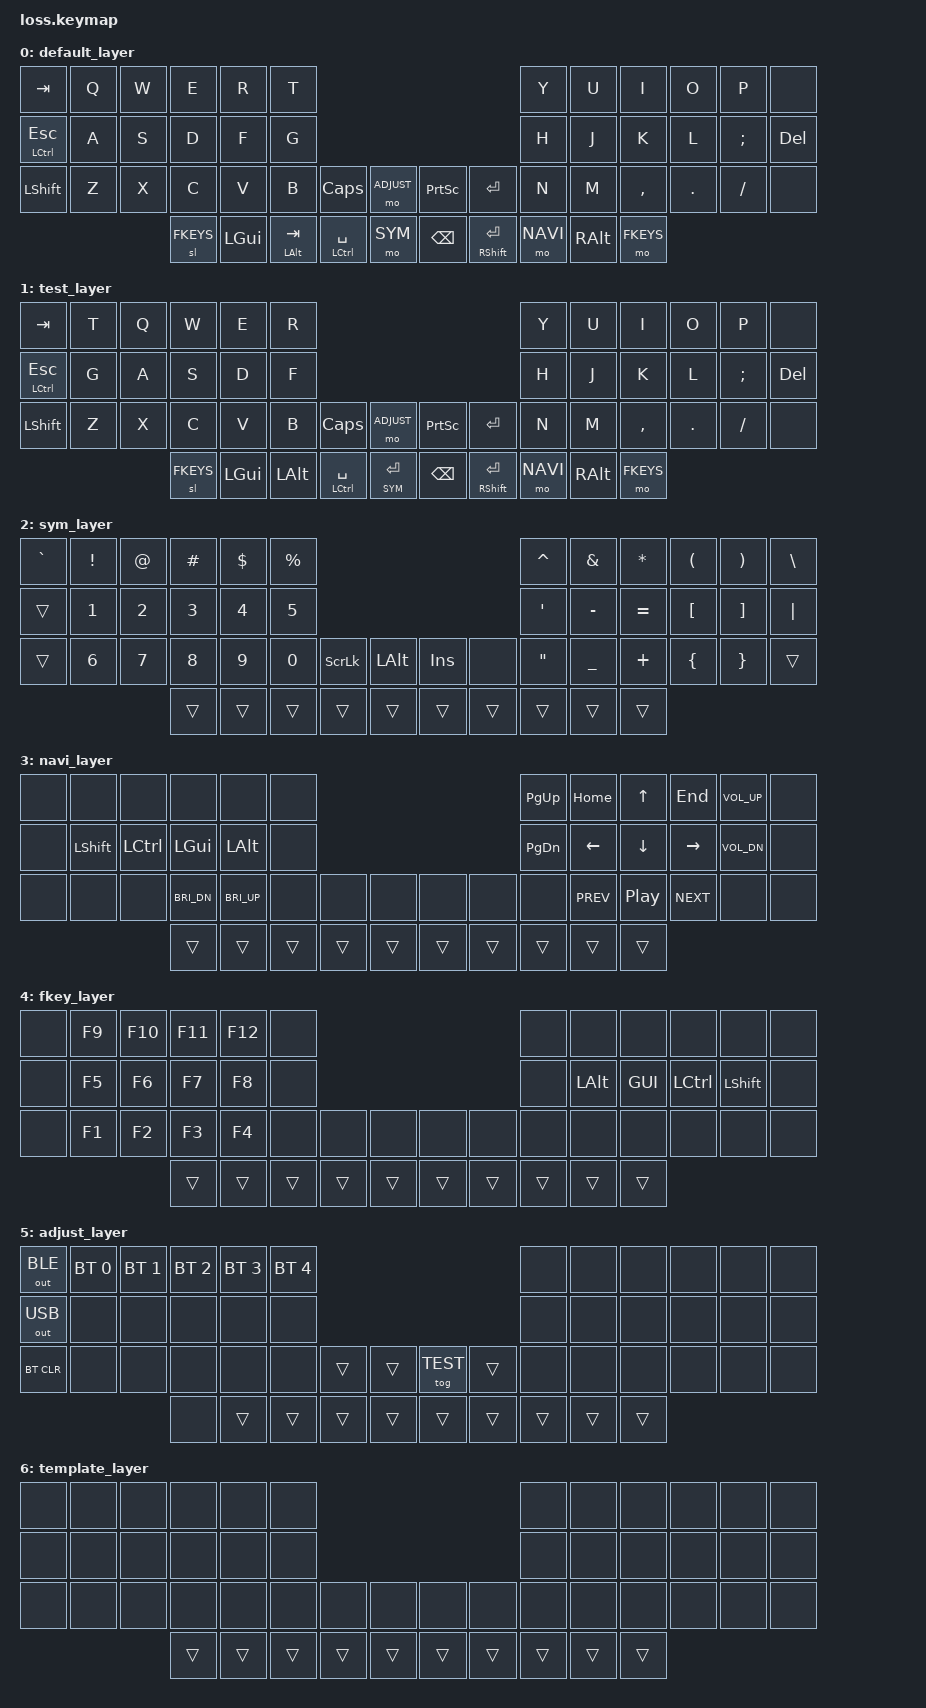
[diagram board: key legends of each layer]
#include <behaviors.dtsi>
#include <dt-bindings/zmk/keys.h>
#include <dt-bindings/zmk/bt.h>
#include <dt-bindings/zmk/outputs.h>


#define DEFAULT 0
#define TEST    1
#define SYM     2
#define NAVI    3
#define FKEYS   4
#define ADJUST  5

/ {
  behaviors {
    hm: homerow_mods {
      compatible = "zmk,behavior-hold-tap";
      label = "HOMEROW_MODS";
      #binding-cells = <2>;
      tapping-term-ms = <150>;    // <---[[moderate duration]]
      quick-tap-ms = <150>;
      require-prior-idle-ms = <125>;
      flavor = "tap-preferred";
      bindings = <&kp>, <&kp>;
    };
    hms: homerow_mods_slow {
      compatible = "zmk,behavior-hold-tap";
      label = "HOMEROW_MODS_SLOW";
      #binding-cells = <2>;
      tapping-term-ms = <200>;    // <---[[moderate duration]]
      quick-tap-ms = <200>;
      require-prior-idle-ms = <125>;
      flavor = "tap-preferred";
      bindings = <&kp>, <&kp>;
    };
    bhm: balanced_homerow_mods {
      compatible = "zmk,behavior-hold-tap";
      label = "HOMEROW_MODS";
      #binding-cells = <2>;
      tapping-term-ms = <200>;    // <---[[moderate duration]]
      quick-tap-ms = <200>;
      flavor = "balanced";
      bindings = <&kp>, <&kp>;
    };
    lh: left_hand_positional_hold_tap {
      compatible = "zmk,behavior-hold-tap";
      label = "LEFT_POSITIONAL_HOLD_TAP";
      #binding-cells = <2>;
      flavor = "tap-unless-interrupted";
      tapping-term-ms = <100>;                        // <---[[produces hold if held longer than tapping-term-ms]]
      quick-tap-ms = <200>;
      bindings = <&kp>, <&kp>;
      hold-trigger-key-positions = <8 9 10 11 12 13 14 15>;    // <---[[right-hand keys]]
    };
    rh: right_hand_positional_hold_tap {
      compatible = "zmk,behavior-hold-tap";
      label = "RIGHT_POSITIONAL_HOLD_TAP";
      #binding-cells = <2>;
      flavor = "tap-unless-interrupted";
      tapping-term-ms = <100>;                        // <---[[produces hold if held longer than tapping-term-ms]]
      quick-tap-ms = <200>;
      bindings = <&kp>, <&kp>;
      hold-trigger-key-positions = <0 1 2 3 4 5 6 7>;    // <---[[left-hand keys]]
    };
  };

  keymap {
    compatible = "zmk,keymap";

    default_layer {
//  ┌╌╌╌╌╌╌┬╌╌╌╌╌╌┬╌╌╌╌╌╌┬╌╌╌╌╌╌┬╌╌╌╌╌╌┬╌╌╌╌╌╌┐                              ┌╌╌╌╌╌╌┬╌╌╌╌╌╌┬╌╌╌╌╌╌┬╌╌╌╌╌╌┬╌╌╌╌╌╌┬╌╌╌╌╌╌┐
//  ┆ TAB  ┆  Q   ┆  W   ┆  E   ┆  R   ┆  T   ┆                              ┆  Y   ┆  U   ┆  I   ┆  O   ┆  P   ┆      ┆
//  ┆      ┆      ┆      ┆      ┆      ┆      ┆                              ┆      ┆      ┆      ┆      ┆      ┆      ┆
//  ├╌╌╌╌╌╌╔══════╦══════╦══════╦══════╗╌╌╌╌╌╌┤                              ├╌╌╌╌╌╌╔══════╦══════╦══════╦══════╗╌╌╌╌╌╌┤
//  ┆ CTRL ║  A   ║  S   ║  D   ║  F   ║  G   ┆                              ┆  H   ║  J   ║  K   ║  L   ║  ;   ║ DEL  ┆
//  ┆ ESC  ║      ║      ║      ║      ║      ┆                              ┆      ║      ║      ║      ║  :   ║      ┆
//  ├╌╌╌╌╌╌╚══════╩══════╩══════╩══════╝╌╌╌╌╌╌┼╌╌╌╌╌╌┬╌╌╌╌╌╌┐  ┌╌╌╌╌╌╌┬╌╌╌╌╌╌┼╌╌╌╌╌╌╚══════╩══════╩══════╩══════╝╌╌╌╌╌╌┤
//  ┆ SHIFT┆  Z   ┆  X   ┆  C   ┆  V   ┆  B   ┆CAPS  ┆ADJUST┆  ┆PRINT ┆  RET ┆  N   ┆  M   ┆  <   ┆  >   ┆  ?   ┆      ┆
//  ┆      ┆      ┆      ┆      ┆      ┆      ┆  LOCK┆      ┆  ┆SCREEN┆      ┆      ┆      ┆  ,   ┆  .   ┆  /   ┆      ┆
//  └╌╌╌╌╌╌┴╌╌╌╌╌╌┴╌╌╌╌╌╌┼╌╌╌╌╌╌┼╌╌╌╌╌╌┼╌╌╌╌╌╌┼╌╌╌╌╌╌┼╌╌╌╌╌╌┆  ┆╌╌╌╌╌╌┼╌╌╌╌╌╌┼╌╌╌╌╌╌┼╌╌╌╌╌╌┼╌╌╌╌╌╌┼╌╌╌╌╌╌┴╌╌╌╌╌╌┴╌╌╌╌╌╌┘
//                       ┆ FKEYS┆  GUI ┆ LALT ┆ CTRL ┆  SYM ┆  ┆ BSPC ┆ SHIFT┆ NAVI ┆ RALT ┆ FKEYS┆
//                       ┆      ┆      ┆ TAB  ┆ SPACE┆      ┆  ┆      ┆  RET ┆      ┆      ┆      ┆
//                       └╌╌╌╌╌╌┴╌╌╌╌╌╌┴╌╌╌╌╌╌┴╌╌╌╌╌╌┴╌╌╌╌╌╌┘  └╌╌╌╌╌╌┴╌╌╌╌╌╌┴╌╌╌╌╌╌┴╌╌╌╌╌╌┴╌╌╌╌╌╌┘
      bindings = <
    &kp TAB        &kp Q     &kp W       &kp E        &kp R         &kp T                                                                              &kp Y       &kp U        &kp I           &kp O      &kp P         &none
    &mt LCTRL ESC  &kp A     &kp S       &kp D        &kp F         &kp G                                                                              &kp H       &kp J        &kp K           &kp L      &kp SEMI      &kp DEL
    &kp LSHFT      &kp Z     &kp X       &kp C        &kp V         &kp B            &kp CLCK         &mo ADJUST       &kp PSCRN        &kp RET        &kp N       &kp M        &kp COMMA       &kp DOT    &kp FSLH      &none
                                         &sl FKEYS    &kp LGUI      &mt LALT TAB     &hms LCTRL SPACE &mo SYM          &kp BSPC         &mt RSHIFT RET &mo NAVI    &kp RALT     &mo FKEYS
      >;
    };

    test_layer {
//  ┌╌╌╌╌╌╌┬╌╌╌╌╌╌┬╌╌╌╌╌╌┬╌╌╌╌╌╌┬╌╌╌╌╌╌┬╌╌╌╌╌╌┐                              ┌╌╌╌╌╌╌┬╌╌╌╌╌╌┬╌╌╌╌╌╌┬╌╌╌╌╌╌┬╌╌╌╌╌╌┬╌╌╌╌╌╌┐
//  ┆ TAB  ┆  T   ┆  Q   ┆  W   ┆  E   ┆  R   ┆                              ┆  Y   ┆  U   ┆  I   ┆  O   ┆  P   ┆      ┆
//  ┆      ┆      ┆      ┆      ┆      ┆      ┆                              ┆      ┆      ┆      ┆      ┆      ┆      ┆
//  ├╌╌╌╌╌╌╔══════╦══════╦══════╦══════╗╌╌╌╌╌╌┤                              ├╌╌╌╌╌╌╔══════╦══════╦══════╦══════╗╌╌╌╌╌╌┤
//  ┆ CTRL ║  G   ║  A   ║  S   ║  D   ║  F   ┆                              ┆  H   ║  J   ║  K   ║  L   ║  ;   ║ DEL  ┆
//  ┆ ESC  ║      ║      ║      ║      ║      ┆                              ┆      ║      ║      ║      ║  :   ║      ┆
//  ├╌╌╌╌╌╌╚══════╩══════╩══════╩══════╝╌╌╌╌╌╌┼╌╌╌╌╌╌┬╌╌╌╌╌╌┐  ┌╌╌╌╌╌╌┬╌╌╌╌╌╌┼╌╌╌╌╌╌╚══════╩══════╩══════╩══════╝╌╌╌╌╌╌┤
//  ┆ SHIFT┆  Z   ┆  X   ┆  C   ┆  V   ┆  B   ┆CAPS  ┆ADJUST┆  ┆PRINT ┆  RET ┆  N   ┆  M   ┆  <   ┆  >   ┆  ?   ┆      ┆
//  ┆      ┆      ┆      ┆      ┆      ┆      ┆  LOCK┆      ┆  ┆SCREEN┆      ┆      ┆      ┆  ,   ┆  .   ┆  /   ┆      ┆
//  └╌╌╌╌╌╌┴╌╌╌╌╌╌┴╌╌╌╌╌╌┼╌╌╌╌╌╌┼╌╌╌╌╌╌┼╌╌╌╌╌╌┼╌╌╌╌╌╌┼╌╌╌╌╌╌┆  ┆╌╌╌╌╌╌┼╌╌╌╌╌╌┼╌╌╌╌╌╌┼╌╌╌╌╌╌┼╌╌╌╌╌╌┼╌╌╌╌╌╌┴╌╌╌╌╌╌┴╌╌╌╌╌╌┘
//                       ┆ FKEYS┆ GUI  ┆ LALT ┆ CTRL ┆  SYM ┆  ┆ BSPC ┆ SHIFT┆ NAVI ┆ RALT ┆ FKEYS┆
//                       ┆      ┆      ┆      ┆ SPACE┆  RET ┆  ┆      ┆  RET ┆      ┆      ┆      ┆
//                       └╌╌╌╌╌╌┴╌╌╌╌╌╌┴╌╌╌╌╌╌┴╌╌╌╌╌╌┴╌╌╌╌╌╌┘  └╌╌╌╌╌╌┴╌╌╌╌╌╌┴╌╌╌╌╌╌┴╌╌╌╌╌╌┴╌╌╌╌╌╌┘
      bindings = <
    &kp TAB        &kp T     &kp Q       &kp W        &kp E         &kp R                                                                              &kp Y       &kp U        &kp I           &kp O      &kp P         &none
    &mt LCTRL ESC  &kp G     &kp A       &kp S        &kp D         &kp F                                                                              &kp H       &kp J        &kp K           &kp L      &kp SEMI      &kp DEL
    &kp LSHFT      &kp Z     &kp X       &kp C        &kp V         &kp B            &kp CLCK         &mo ADJUST       &kp PSCRN        &kp RET        &kp N       &kp M        &kp COMMA       &kp DOT    &kp FSLH      &none
                                         &sl FKEYS    &kp LGUI      &kp LALT         &hms LCTRL SPACE &lt SYM RET      &kp BSPC         &mt RSHIFT RET &mo NAVI    &kp RALT     &mo FKEYS
      >;
    };

    sym_layer {
//  ┌╌╌╌╌╌╌┬╌╌╌╌╌╌┬╌╌╌╌╌╌┬╌╌╌╌╌╌┬╌╌╌╌╌╌┬╌╌╌╌╌╌┐                              ┌╌╌╌╌╌╌┬╌╌╌╌╌╌┬╌╌╌╌╌╌┬╌╌╌╌╌╌┬╌╌╌╌╌╌┬╌╌╌╌╌╌┐
//  ┆   ~  ┆  !   ┆  @   ┆  #   ┆  $   ┆  %   ┆                              ┆  ^   ┆  &   ┆  *   ┆  (   ┆  )   ┆  \   ┆
//  ┆   `  ┆      ┆      ┆      ┆      ┆      ┆                              ┆      ┆      ┆      ┆      ┆      ┆      ┆
//  ├╌╌╌╌╌╌╔══════╦══════╦══════╦══════╗╌╌╌╌╌╌┤                              ├╌╌╌╌╌╌╔══════╦══════╦══════╦══════╗╌╌╌╌╌╌┤
//  ┆      ║      ║      ║      ║      ║      ┆                              ┆      ║      ║      ║      ║      ║      ┆
//  ┆      ║  1   ║  2   ║  3   ║  4   ║  5   ┆                              ┆  '   ║  -   ║  =   ║  [   ║  ]   ║  |   ┆
//  ├╌╌╌╌╌╌╚══════╩══════╩══════╩══════╝╌╌╌╌╌╌┼╌╌╌╌╌╌┬╌╌╌╌╌╌┐  ┌╌╌╌╌╌╌┬╌╌╌╌╌╌┼╌╌╌╌╌╌╚══════╩══════╩══════╩══════╝╌╌╌╌╌╌┤
//  ┆      ┆      ┆      ┆      ┆      ┆      ┆SCROLL┆      ┆  ┆INSERT┆      ┆      ┆      ┆      ┆      ┆      ┆      ┆
//  ┆      ┆  6   ┆  7   ┆  8   ┆  9   ┆  0   ┆  LOCK┆ LALT ┆  ┆      ┆      ┆  "   ┆  _   ┆  +   ┆  {   ┆  }   ┆      ┆
//  └╌╌╌╌╌╌┴╌╌╌╌╌╌┴╌╌╌╌╌╌┼╌╌╌╌╌╌┼╌╌╌╌╌╌┼╌╌╌╌╌╌┼╌╌╌╌╌╌┼╌╌╌╌╌╌┆  ┆╌╌╌╌╌╌┼╌╌╌╌╌╌┼╌╌╌╌╌╌┼╌╌╌╌╌╌┼╌╌╌╌╌╌┼╌╌╌╌╌╌┴╌╌╌╌╌╌┴╌╌╌╌╌╌┘
//                       ┆      ┆      ┆      ┆      ┆      ┆  ┆      ┆      ┆      ┆      ┆      ┆
//                       ┆      ┆      ┆      ┆      ┆      ┆  ┆      ┆      ┆      ┆      ┆      ┆
//                       └╌╌╌╌╌╌┴╌╌╌╌╌╌┴╌╌╌╌╌╌┴╌╌╌╌╌╌┴╌╌╌╌╌╌┘  └╌╌╌╌╌╌┴╌╌╌╌╌╌┴╌╌╌╌╌╌┴╌╌╌╌╌╌┴╌╌╌╌╌╌┘

      bindings = <
    &kp GRAV  &kp EXCL &kp AT &kp HASH &kp DLLR &kp PRCNT                                           &kp CARET  &kp AMPS        &kp STAR   &kp LPAR  &kp RPAR  &kp BSLH
    &trans    &kp N1   &kp N2 &kp N3   &kp N4   &kp N5                                              &kp SQT    &kp MINUS       &kp EQUAL  &kp LBKT  &kp RBKT  &kp PIPE
    &trans    &kp N6   &kp N7 &kp N8   &kp N9   &kp N0     &kp SLCK &kp LALT      &kp INSERT &none  &kp DQT    &kp UNDERSCORE  &kp PLUS   &kp LBRC  &kp RBRC  &trans
                              &trans   &trans   &trans     &trans   &trans        &trans     &trans &trans     &trans    &trans
      >;
    };

    navi_layer {
//  ┌╌╌╌╌╌╌┬╌╌╌╌╌╌┬╌╌╌╌╌╌┬╌╌╌╌╌╌┬╌╌╌╌╌╌┬╌╌╌╌╌╌┐                              ┌╌╌╌╌╌╌┬╌╌╌╌╌╌┬╌╌╌╌╌╌┬╌╌╌╌╌╌┬╌╌╌╌╌╌┬╌╌╌╌╌╌┐
//  ┆      ┆      ┆      ┆      ┆      ┆      ┆                              ┆ PGUP ┆ HOME ┆  ⬆   ┆ END  ┆VOL UP┆      ┆
//  ┆      ┆      ┆      ┆      ┆      ┆      ┆                              ┆      ┆      ┆      ┆      ┆      ┆      ┆
//  ├╌╌╌╌╌╌╔══════╦══════╦══════╦══════╗╌╌╌╌╌╌┤                              ├╌╌╌╌╌╌╔══════╦══════╦══════╦══════╗╌╌╌╌╌╌┤
//  ┆      ║ SHIFT║ CTRL ║ GUI  ║ ALT  ║      ┆                              ┆ PGDN ║  ⬅   ║  ⬇   ║  ➡   ║VOL DN║      ┆
//  ┆      ║      ║      ║      ║      ║      ┆                              ┆      ║      ║      ║      ║      ║      ┆
//  ├╌╌╌╌╌╌╚══════╩══════╩══════╩══════╝╌╌╌╌╌╌┼╌╌╌╌╌╌┬╌╌╌╌╌╌┐  ┌╌╌╌╌╌╌┬╌╌╌╌╌╌┼╌╌╌╌╌╌╚══════╩══════╩══════╩══════╝╌╌╌╌╌╌┤
//  ┆      ┆      ┆      ┆BRIGHT┆BRIGHT┆      ┆      ┆      ┆  ┆      ┆      ┆      ┆MPREV ┆MPAUSE┆MNEXT ┆      ┆      ┆
//  ┆      ┆      ┆      ┆  DOWN┆   UP ┆      ┆      ┆      ┆  ┆      ┆      ┆      ┆      ┆      ┆      ┆      ┆      ┆
//  └╌╌╌╌╌╌┴╌╌╌╌╌╌┴╌╌╌╌╌╌┼╌╌╌╌╌╌┼╌╌╌╌╌╌┼╌╌╌╌╌╌┼╌╌╌╌╌╌┼╌╌╌╌╌╌┆  ┆╌╌╌╌╌╌┼╌╌╌╌╌╌┼╌╌╌╌╌╌┼╌╌╌╌╌╌┼╌╌╌╌╌╌┼╌╌╌╌╌╌┴╌╌╌╌╌╌┴╌╌╌╌╌╌┘
//                       ┆      ┆      ┆      ┆      ┆      ┆  ┆      ┆      ┆      ┆      ┆      ┆
//                       ┆      ┆      ┆      ┆      ┆      ┆  ┆      ┆      ┆      ┆      ┆      ┆
//                       └╌╌╌╌╌╌┴╌╌╌╌╌╌┴╌╌╌╌╌╌┴╌╌╌╌╌╌┴╌╌╌╌╌╌┘  └╌╌╌╌╌╌┴╌╌╌╌╌╌┴╌╌╌╌╌╌┴╌╌╌╌╌╌┴╌╌╌╌╌╌┘

      bindings = <
    &none  &none      &none     &none        &none        &none                                     &kp PG_UP  &kp HOME   &kp UP    &kp END    &kp C_VOL_UP  &none
    &none  &kp LSHIFT &kp LCTRL &kp LGUI     &kp LALT     &none                                     &kp PG_DN  &kp LEFT   &kp DOWN  &kp RIGHT  &kp C_VOL_DN  &none
    &none  &none      &none     &kp C_BRI_DN &kp C_BRI_UP &none  &none  &none         &none  &none  &none      &kp C_PREV &kp C_PP  &kp C_NEXT &none         &none
                                &trans       &trans       &trans &trans &trans        &trans &trans &trans     &trans     &trans
      >;
    };


    fkey_layer {
//  ┌╌╌╌╌╌╌┬╌╌╌╌╌╌┬╌╌╌╌╌╌┬╌╌╌╌╌╌┬╌╌╌╌╌╌┬╌╌╌╌╌╌┐                              ┌╌╌╌╌╌╌┬╌╌╌╌╌╌┬╌╌╌╌╌╌┬╌╌╌╌╌╌┬╌╌╌╌╌╌┬╌╌╌╌╌╌┐
//  ┆      ┆  F9  ┆ F10  ┆  F11 ┆ F12  ┆      ┆                              ┆      ┆      ┆      ┆      ┆      ┆      ┆
//  ┆      ┆      ┆      ┆      ┆      ┆      ┆                              ┆      ┆      ┆      ┆      ┆      ┆      ┆
//  ├╌╌╌╌╌╌╔══════╦══════╦══════╦══════╗╌╌╌╌╌╌┤                              ├╌╌╌╌╌╌╔══════╦══════╦══════╦══════╗╌╌╌╌╌╌┤
//  ┆      ║  F5  ║  F6  ║  F7  ║  F8  ║      ┆                              ┆      ║ ALT  ║ GUI  ║ CTRL ║SHIFT ║      ┆
//  ┆      ║      ║      ║      ║      ║      ┆                              ┆      ║      ║      ║      ║      ║      ┆
//  ├╌╌╌╌╌╌╚══════╩══════╩══════╩══════╝╌╌╌╌╌╌┼╌╌╌╌╌╌┬╌╌╌╌╌╌┐  ┌╌╌╌╌╌╌┬╌╌╌╌╌╌┼╌╌╌╌╌╌╚══════╩══════╩══════╩══════╝╌╌╌╌╌╌┤
//  ┆      ┆  F1  ┆  F2  ┆  F3  ┆  F4  ┆      ┆      ┆      ┆  ┆      ┆      ┆      ┆      ┆      ┆      ┆      ┆      ┆
//  ┆      ┆      ┆      ┆      ┆      ┆      ┆      ┆      ┆  ┆      ┆      ┆      ┆      ┆      ┆      ┆      ┆      ┆
//  └╌╌╌╌╌╌┴╌╌╌╌╌╌┴╌╌╌╌╌╌┼╌╌╌╌╌╌┼╌╌╌╌╌╌┼╌╌╌╌╌╌┼╌╌╌╌╌╌┼╌╌╌╌╌╌┆  ┆╌╌╌╌╌╌┼╌╌╌╌╌╌┼╌╌╌╌╌╌┼╌╌╌╌╌╌┼╌╌╌╌╌╌┼╌╌╌╌╌╌┴╌╌╌╌╌╌┴╌╌╌╌╌╌┘
//                       ┆      ┆      ┆      ┆      ┆      ┆  ┆      ┆      ┆      ┆      ┆      ┆
//                       ┆      ┆      ┆      ┆      ┆      ┆  ┆      ┆      ┆      ┆      ┆      ┆
//                       └╌╌╌╌╌╌┴╌╌╌╌╌╌┴╌╌╌╌╌╌┴╌╌╌╌╌╌┴╌╌╌╌╌╌┘  └╌╌╌╌╌╌┴╌╌╌╌╌╌┴╌╌╌╌╌╌┴╌╌╌╌╌╌┴╌╌╌╌╌╌┘
            bindings = <
    &none  &kp F9  &kp F10  &kp F11  &kp F12  &none                                     &none  &none       &none      &none     &none      &none
    &none  &kp F5  &kp F6   &kp F7   &kp F8   &none                                     &none  &kp LALT    &kp GUI    &kp LCTRL &kp LSHIFT &none
    &none  &kp F1  &kp F2   &kp F3   &kp F4   &none  &none  &none         &none  &none  &none  &none       &none      &none     &none      &none
                            &trans   &trans   &trans &trans &trans        &trans &trans &trans &trans      &trans
      >;
    };


    adjust_layer {
//  ┌╌╌╌╌╌╌┬╌╌╌╌╌╌┬╌╌╌╌╌╌┬╌╌╌╌╌╌┬╌╌╌╌╌╌┬╌╌╌╌╌╌┐                              ┌╌╌╌╌╌╌┬╌╌╌╌╌╌┬╌╌╌╌╌╌┬╌╌╌╌╌╌┬╌╌╌╌╌╌┬╌╌╌╌╌╌┐
//  ┆  BLE ┆  BT0 ┆  BT1 ┆  BT2 ┆  BT3 ┆  BT4 ┆                              ┆      ┆      ┆      ┆      ┆      ┆      ┆
//  ┆      ┆      ┆      ┆      ┆      ┆      ┆                              ┆      ┆      ┆      ┆      ┆      ┆      ┆
//  ├╌╌╌╌╌╌╔══════╦══════╦══════╦══════╗╌╌╌╌╌╌┤                              ├╌╌╌╌╌╌╔══════╦══════╦══════╦══════╗╌╌╌╌╌╌┤
//  ┆  USB ║      ║      ║      ║      ║      ┆                              ┆      ║      ║      ║      ║      ║      ┆
//  ┆      ║      ║      ║      ║      ║      ┆                              ┆      ║      ║      ║      ║      ║      ┆
//  ├╌╌╌╌╌╌╚══════╩══════╩══════╩══════╝╌╌╌╌╌╌┼╌╌╌╌╌╌┬╌╌╌╌╌╌┐  ┌╌╌╌╌╌╌┬╌╌╌╌╌╌┼╌╌╌╌╌╌╚══════╩══════╩══════╩══════╝╌╌╌╌╌╌┤
//  ┆BT_CLR┆      ┆      ┆      ┆      ┆      ┆      ┆      ┆  ┆ TEST ┆      ┆      ┆      ┆      ┆      ┆      ┆      ┆
//  ┆      ┆      ┆      ┆      ┆      ┆      ┆      ┆      ┆  ┆      ┆      ┆      ┆      ┆      ┆      ┆      ┆      ┆
//  └╌╌╌╌╌╌┴╌╌╌╌╌╌┴╌╌╌╌╌╌┼╌╌╌╌╌╌┼╌╌╌╌╌╌┼╌╌╌╌╌╌┼╌╌╌╌╌╌┼╌╌╌╌╌╌┆  ┆╌╌╌╌╌╌┼╌╌╌╌╌╌┼╌╌╌╌╌╌┼╌╌╌╌╌╌┼╌╌╌╌╌╌┼╌╌╌╌╌╌┴╌╌╌╌╌╌┴╌╌╌╌╌╌┘
//                       ┆      ┆      ┆      ┆      ┆      ┆  ┆      ┆      ┆      ┆      ┆      ┆
//                       ┆      ┆      ┆      ┆      ┆      ┆  ┆      ┆      ┆      ┆      ┆      ┆
//                       └╌╌╌╌╌╌┴╌╌╌╌╌╌┴╌╌╌╌╌╌┴╌╌╌╌╌╌┴╌╌╌╌╌╌┘  └╌╌╌╌╌╌┴╌╌╌╌╌╌┴╌╌╌╌╌╌┴╌╌╌╌╌╌┴╌╌╌╌╌╌┘

      bindings = <
    &out OUT_BLE  &bt BT_SEL 0 &bt BT_SEL 1 &bt BT_SEL 2 &bt BT_SEL 3 &bt BT_SEL 4                                            &none  &none  &none  &none  &none  &none
    &out OUT_USB  &none        &none        &none        &none        &none                                                   &none  &none  &none  &none  &none  &none
    &bt BT_CLR    &none        &none        &none        &none        &none        &trans    &trans          &tog TEST &trans &none  &none  &none  &none  &none  &none
                                            &none        &trans       &trans       &trans    &trans          &trans    &trans &trans &trans &trans
      >;
    };


    template_layer {
//  ┌╌╌╌╌╌╌╌╌╌╌╌╌╌╌╌╌╌╌╌╌╌╌╌╌╌╌╌╌╌╌╌╌╌╌╌╌╌╌╌╌╌┐                              ┌╌╌╌╌╌╌╌╌╌╌╌╌╌╌╌╌╌╌╌╌╌╌╌╌╌╌╌╌╌╌╌╌╌╌╌╌╌╌╌╌╌┐
//  ┆      ┆      ┆      ┆      ┆      ┆      ┆                              ┆      ┆      ┆      ┆      ┆      ┆      ┆
//  ┆      ┆      ┆      ┆      ┆      ┆      ┆                              ┆      ┆      ┆      ┆      ┆      ┆      ┆
//  ├╌╌╌╌╌╌╔══════╦══════╦══════╦══════╗╌╌╌╌╌╌┤                              ├╌╌╌╌╌╌╔══════╦══════╦══════╦══════╗╌╌╌╌╌╌┤
//  ┆      ║      ║      ║      ║      ║      ┆                              ┆      ║      ║      ║      ║      ║      ┆
//  ┆      ║      ║      ║      ║      ║      ┆                              ┆      ║      ║      ║      ║      ║      ┆
//  ├╌╌╌╌╌╌╚══════╩══════╩══════╩══════╝╌╌╌╌╌╌┼╌╌╌╌╌╌┬╌╌╌╌╌╌┐  ┌╌╌╌╌╌╌┬╌╌╌╌╌╌┼╌╌╌╌╌╌╚══════╩══════╩══════╩══════╝╌╌╌╌╌╌┤
//  ┆      ┆      ┆      ┆      ┆      ┆      ┆      ┆      ┆  ┆      ┆      ┆      ┆      ┆      ┆      ┆      ┆      ┆
//  ┆      ┆      ┆      ┆      ┆      ┆      ┆      ┆      ┆  ┆      ┆      ┆      ┆      ┆      ┆      ┆      ┆      ┆
//  └╌╌╌╌╌╌┴╌╌╌╌╌╌┴╌╌╌╌╌╌┼╌╌╌╌╌╌┼╌╌╌╌╌╌┼╌╌╌╌╌╌┼╌╌╌╌╌╌┼╌╌╌╌╌╌┆  ┆╌╌╌╌╌╌┼╌╌╌╌╌╌┼╌╌╌╌╌╌┼╌╌╌╌╌╌┼╌╌╌╌╌╌┼╌╌╌╌╌╌┴╌╌╌╌╌╌┴╌╌╌╌╌╌┘
//                       ┆      ┆      ┆      ┆      ┆      ┆  ┆      ┆      ┆      ┆      ┆      ┆
//                       ┆      ┆      ┆      ┆      ┆      ┆  ┆      ┆      ┆      ┆      ┆      ┆
//                       └╌╌╌╌╌╌┴╌╌╌╌╌╌┴╌╌╌╌╌╌┴╌╌╌╌╌╌┴╌╌╌╌╌╌┘  └╌╌╌╌╌╌┴╌╌╌╌╌╌┴╌╌╌╌╌╌┴╌╌╌╌╌╌┴╌╌╌╌╌╌┘
            bindings = <
    &none  &none  &none  &none  &none  &none                                     &none  &none  &none  &none  &none  &none
    &none  &none  &none  &none  &none  &none                                     &none  &none  &none  &none  &none  &none
    &none  &none  &none  &none  &none  &none  &none  &none         &none  &none  &none  &none  &none  &none  &none  &none
                         &trans &trans &trans &trans &trans        &trans &trans &trans &trans &trans
      >;
    };

  };
};

/ {
  combos {
    compatible = "zmk,combos";

    combo_caps_word {
      timeout-ms = <50>;
      // LSHIFT + RSHIFT
      key-positions = <24 39>;
      bindings = <&caps_word>;
    };
  };
};
